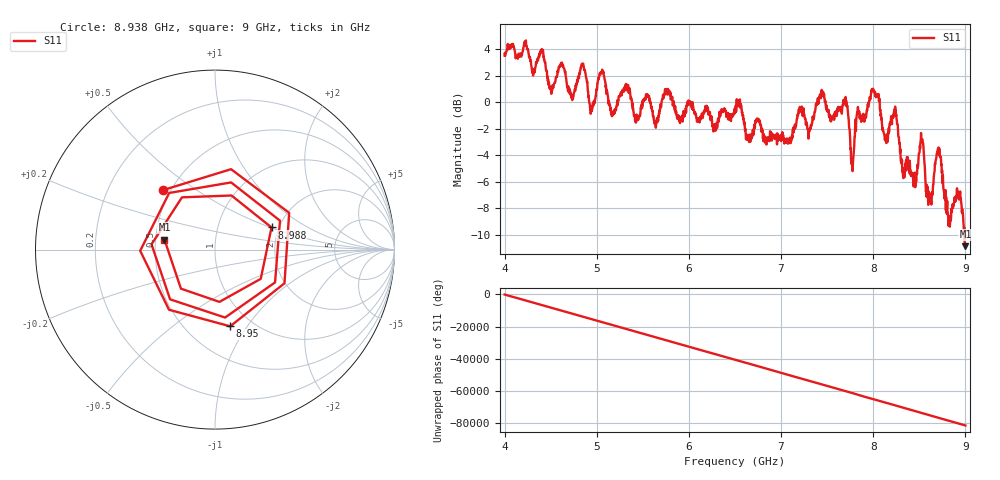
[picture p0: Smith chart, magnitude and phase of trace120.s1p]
! Created with skrf 1.8.0 (http://scikit-rf.org).
# Hz S RI R 50.0
!freq ReS11 ImS11
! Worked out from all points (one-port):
!   1601 points, 4 GHz to 9 GHz, reference 50 ohm
!   lowest |S11| = -10.8 dB at 9 GHz (marker M1), VSWR 1.81, Z = 27.9 + j3.4 ohm
!   |S11| at or under -10 dB: 8.98389 GHz to 8.984185 GHz (295.4 kHz wide, 0.00329 % of centre); 8.989803 GHz to end of sweep
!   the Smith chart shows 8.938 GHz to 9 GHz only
!   S11 on the Smith chart (normalised r, x): 8.938 GHz: 0.45, +0.37; 8.95 GHz: 0.79, -0.84; 8.988 GHz: 1.83, +0.51; 9 GHz: 0.56, +0.07
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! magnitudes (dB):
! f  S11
! 4 GHz  3.5
! 4.403 GHz  3.9
! 4.509 GHz  0.7
! 4.625 GHz  2.8
! 4.731 GHz  0.3
! 4.853 GHz  2.9
! 4.941 GHz  -0.7
! 5.05 GHz  2.3
! 5.162 GHz  -1.0
! 5.25 GHz  0.5
! 5.875 GHz  -1.2
! 6.5 GHz  -0.4
! 6.641 GHz  -2.5
! 7.125 GHz  -2.1
! 7.444 GHz  0.7
! 7.697 GHz  0.2
! 7.75 GHz  -2.8
! 8 GHz  1.0
! 8.375 GHz  -4.1
! 8.45 GHz  -5.9
! 8.528 GHz  -2.9
! 8.619 GHz  -7.2
! 8.709 GHz  -3.4
! 8.819 GHz  -9.0
! 8.938 GHz  -7.1
! 8.95 GHz  -7.2
! 8.988 GHz  -9.4
! 9 GHz  -10.8
